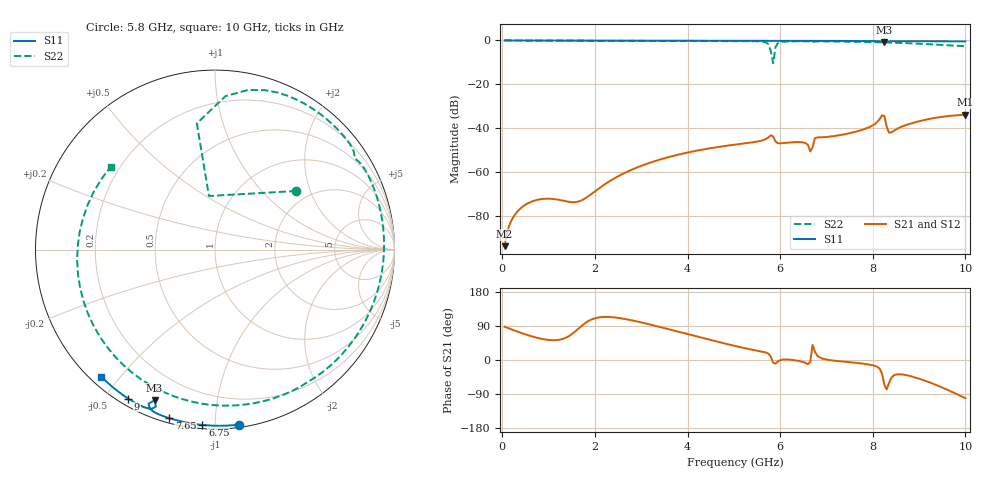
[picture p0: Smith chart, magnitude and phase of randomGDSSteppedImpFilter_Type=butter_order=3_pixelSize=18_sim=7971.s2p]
! freq	dB(S11)	phase(S11)	dB(S12)	phase(S12)
!  dB(S21)	phase(S21)	dB(S22)	phase(S22)
!S-par simulation data
#  GHz  S  DB  R 50
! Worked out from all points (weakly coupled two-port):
!   200 points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, 50 MHz to 10 GHz, reference 50 ohm
!   highest |S21| = -33.94 dB at 10 GHz (marker M1); lowest = -94.0 dB at 50 MHz (marker M2)
!   lowest |S11| = -0.9 dB at 8.25 GHz (marker M3), VSWR 20.16, Z = 3.61 - j33.7 ohm
!   |S11| at or under -10 dB: nowhere
!   |S22| runs from -10.4 to 0.0 dB; largest |S21 - S12| = 0
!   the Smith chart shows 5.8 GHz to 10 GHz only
!   S11 on the Smith chart (normalised r, x): 5.8 GHz: 0.02, -1.15; 6.75 GHz: 0.02, -0.93; 7.65 GHz: 0.02, -0.77; 9 GHz: 0.03, -0.57; 10 GHz: 0.03, -0.45
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0.05  -0.00 -0.8  -94.01 87.7  -94.01 87.7  -0.00 -4.0
0.9  -0.02 -13.6  -72.37 54.7  -72.37 54.7  -0.08 -67.8
1.75  -0.03 -26.3  -72.66 93.8  -72.66 93.8  -0.12 -119.2
2.55  -0.05 -38.0  -61.52 110.3  -61.52 110.3  -0.14 -157.7
3.4  -0.07 -50.1  -54.44 87.2  -54.44 87.2  -0.16 167.0
4.2  -0.09 -61.1  -50.37 62.0  -50.37 62.0  -0.19 135.5
5.05  -0.11 -72.5  -47.54 36.3  -47.54 36.3  -0.25 100.3
5.6  -0.13 -79.6  -45.76 22.4  -45.76 22.4  -0.51 70.1
5.7  -0.13 -80.9  -44.95 19.6  -44.95 19.6  -0.96 59.0
5.8  -0.14 -82.2  -43.31 8.4  -43.31 8.4  -5.06 35.8
5.85  -0.14 -82.8  -43.95 -7.6  -43.95 -7.6  -10.44 96.4
5.9  -0.14 -83.5  -46.18 -9.5  -46.18 -9.5  -2.97 98.2
6  -0.15 -84.7  -47.02 -0.5  -47.02 -0.5  -0.84 78.3
6.15  -0.15 -86.6  -46.70 1.4  -46.70 1.4  -0.46 64.6
6.7  -0.18 -93.5  -48.82 39.9  -48.82 39.9  -0.63 33.1
6.75  -0.18 -94.1  -44.67 21.9  -44.67 21.9  -0.54 31.4
7.65  -0.24 -105.1  -41.59 -7.6  -41.59 -7.6  -0.61 -18.2
8.25  -0.86 -111.8  -34.53 -65.5  -34.53 -65.5  -0.91 -55.1
8.35  -0.43 -111.5  -42.11 -60.7  -42.11 -60.7  -0.94 -61.7
9  -0.35 -120.2  -36.91 -49.3  -36.91 -49.3  -1.49 -110.8
9.55  -0.40 -126.6  -34.74 -75.3  -34.74 -75.3  -2.14 -164.1
10  -0.45 -131.8  -33.94 -100.8  -33.94 -100.8  -2.59 141.4
